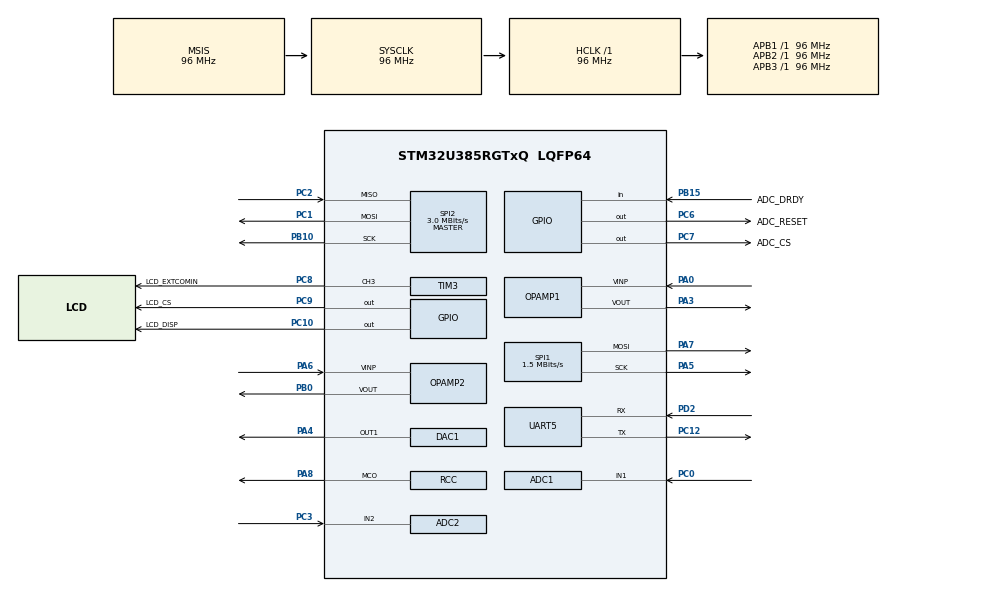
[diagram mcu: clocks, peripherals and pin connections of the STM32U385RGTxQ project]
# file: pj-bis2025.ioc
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ADC1.Channel-0\#ChannelRegularConversion=ADC_CHANNEL_1
ADC1.MonitoredBy-0\#ChannelRegularConversion=__NULL
ADC1.NbrOfConversionFlag=1
ADC1.OffsetNumber-0\#ChannelRegularConversion=ADC_OFFSET_NONE
ADC1.Rank-0\#ChannelRegularConversion=1
ADC1.SamplingTime-0\#ChannelRegularConversion=ADC_SAMPLETIME_1CYCLE_5
ADC1.master=1
ADC2.Channel-0\#ChannelRegularConversion=ADC_CHANNEL_2
ADC2.MonitoredBy-0\#ChannelRegularConversion=__NULL
ADC2.NbrOfConversionFlag=1
ADC2.OffsetNumber-0\#ChannelRegularConversion=ADC_OFFSET_NONE
ADC2.Rank-0\#ChannelRegularConversion=1
ADC2.SamplingTime-0\#ChannelRegularConversion=ADC_SAMPLETIME_1CYCLE_5
CORTEX_M33_NS.userName=CORTEX_M33
DAC1.DAC_Channel-DAC_OUT1=DAC_CHANNEL_1
DAC1.DAC_OutputBuffer_OUT1-DAC_OUT1=DAC_OUTPUTBUFFER_ENABLE
Mcu.Family=STM32U3
Mcu.Name=STM32U385RGTxQ
Mcu.Package=LQFP64
NUCLEO-U385RG-Q.BUTTON=1
NUCLEO-U385RG-Q.Bsp_Common_DEMO=true
NUCLEO-U385RG-Q.VCP=true
NVIC.EXTI13_IRQn=true\:0\:0\:false\:false\:true\:false\:true\:true
NVIC.PriorityGroup=NVIC_PRIORITYGROUP_4
OPAMP2.PowerMode=OPAMP_POWERMODE_NORMALPOWER_NORMALSPEED
PA0.Mode=Follower
PA0.Signal=OPAMP1_VINP
PA10.Signal=USART1_RX
PA13\ (JTMS/SWDIO).GPIO_Label=DEBUG_JTMS-SWDIO
PA13\ (JTMS/SWDIO).Signal=DEBUG_JTMS-SWDIO
PA14\ (JTCK/SWCLK).GPIO_Label=DEBUG_JTCK-SWCLK
PA14\ (JTCK/SWCLK).Signal=DEBUG_JTCK-SWCLK
PA15\ (JTDI).GPIO_Label=DEBUG_JTDI
PA15\ (JTDI).Signal=DEBUG_JTDI
PA3.Mode=Follower
PA3.Signal=OPAMP1_VOUT
PA4.Signal=COMP_DAC11_group
PA5.Mode=TX_Only_Simplex_Unidirect_Master
PA5.Signal=SPI1_SCK
PA6.Mode=Follower
PA6.Signal=OPAMP2_VINP
PA7.Mode=TX_Only_Simplex_Unidirect_Master
PA7.Signal=SPI1_MOSI
PA8.Mode=Clock-out-1
PA8.Signal=RCC_MCO
PA9.Signal=USART1_TX
PB0.Mode=Follower
PB0.Signal=OPAMP2_VOUT
PB10.Mode=Full_Duplex_Master
PB10.Signal=SPI2_SCK
PB15.GPIO_Label=ADC_DRDY
PB15.Signal=GPIO_Input
PB3\ (JTDO/TRACESWO).GPIO_Label=DEBUG_JTDO-SWO
PB3\ (JTDO/TRACESWO).Signal=DEBUG_JTDO-SWO
PC0.Mode=IN1-Single-Ended
PC0.Signal=ADC1_IN1
PC1.Mode=Full_Duplex_Master
PC1.Signal=SPI2_MOSI
PC10.GPIO_Label=LCD_DISP
PC10.Signal=GPIO_Output
PC12.Mode=Asynchronous
PC12.Signal=UART5_TX
PC13.Signal=PWR_WKUP2
PC14-OSC32_IN\ (PC14).GPIO_Label=RCC_OSC32_IN
PC14-OSC32_IN\ (PC14).Signal=RCC_OSC32_IN
PC15-OSC32_OUT\ (PC15).GPIO_Label=RCC_OSC32_OUT
PC15-OSC32_OUT\ (PC15).Signal=RCC_OSC32_OUT
PC2.Mode=Full_Duplex_Master
PC2.Signal=SPI2_MISO
PC3.Mode=IN2-Single-Ended
PC3.Signal=ADC2_IN2
PC6.GPIO_Label=ADC_RESET
PC6.Signal=GPIO_Output
PC7.GPIO_Label=ADC_CS
PC7.Signal=GPIO_Output
PC8.GPIO_Label=LCD_EXTCOMIN
PC8.Signal=S_TIM3_CH3
PC9.GPIO_Label=LCD_CS
PC9.Signal=GPIO_Output
PD2.Mode=Asynchronous
PD2.Signal=UART5_RX
ProjectManager.HeapSize=0x200
ProjectManager.StackSize=0x400
ProjectManager.TargetToolchain=STM32CubeIDE
RCC.ADCFreq_Value=96000000
RCC.AHBFreq_Value=96000000
RCC.APB1Freq_Value=96000000
RCC.APB1TimFreq_Value=96000000
RCC.APB2Freq_Value=96000000
RCC.APB2TimFreq_Value=96000000
RCC.APB3Freq_Value=96000000
RCC.CortexFreq_Value=12000000
RCC.HCLKFreq_Value=96000000
RCC.HSE_VALUE=16000000
RCC.HSI48_VALUE=48000000
RCC.HSI_VALUE=16000000
RCC.LSE_VALUE=32768
RCC.LSIDIV_VALUE=32000
RCC.MSISDIV=RCC_MSI_DIV1
RCC.RCC_MCODiv=RCC_MCODIV_64
RCC.SYSCLKFreq_VALUE=96000000
RCC.USBFreq_Value=48000000
RCC.USB_DIV=RCC_USB1CLKSOURCE_ICLK_DIV2
SH.COMP_DAC11_group.0=DAC1_OUT1,DAC_OUT1
SH.S_TIM3_CH3.0=TIM3_CH3,PWM Generation3 CH3
SPI1.BaudRatePrescaler=SPI_BAUDRATEPRESCALER_64
SPI1.CalculateBaudRate=1.5 MBits/s
SPI1.DataSize=SPI_DATASIZE_8BIT
SPI1.Direction=SPI_DIRECTION_2LINES_TXONLY
SPI1.Mode=SPI_MODE_MASTER
SPI1.VirtualType=VM_MASTER
SPI2.BaudRatePrescaler=SPI_BAUDRATEPRESCALER_32
SPI2.CLKPhase=SPI_PHASE_2EDGE
SPI2.CalculateBaudRate=3.0 MBits/s
SPI2.DataSize=SPI_DATASIZE_8BIT
SPI2.Direction=SPI_DIRECTION_2LINES
SPI2.Mode=SPI_MODE_MASTER
SPI2.VirtualType=VM_MASTER
TIM3.AutoReloadPreload=TIM_AUTORELOAD_PRELOAD_ENABLE
TIM3.Channel-PWM\ Generation3\ CH3=TIM_CHANNEL_3
TIM3.ClockDivision=TIM_CLOCKDIVISION_DIV2
TIM3.Dithering=Disable
TIM3.PeriodNoDither=9999
TIM3.Prescaler=191
TIM3.PulseNoDither_3=5000
VP_MEMORYMAP_VS_MEMORYMAP.Mode=CurAppReg
VP_NUCLEO-U385RG-Q_VS_BSP_COMMON.Mode=COMMON
VP_PWR_VS_DBSignals.Mode=DisableDeadBatterySignals
VP_PWR_VS_LPOM.Mode=PowerOptimisation
VP_PWR_VS_SECSignals.Mode=Security/Privilege
VP_TIM3_VS_ClockSourceINT.Mode=Internal
board=NUCLEO-U385RG-Q

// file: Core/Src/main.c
/* USER CODE BEGIN Header */
/**
  ******************************************************************************
  * @file           : main.c
  * @brief          : Main program body
  ******************************************************************************
  * @attention
  *
  * Copyright (c) 2025 STMicroelectronics.
  * All rights reserved.
  *
  * This software is licensed under terms that can be found in the LICENSE file
  * in the root directory of this software component.
  * If no LICENSE file comes with this software, it is provided AS-IS.
  *
  ******************************************************************************
  */
/* USER CODE END Header */
#include "main.h"

/* USER CODE BEGIN Includes */
#include <stdlib.h>
/* USER CODE END Includes */

/* USER CODE BEGIN PD */
// Display and timing constants
#define LCD_UPDATE_INTERVAL 10
#define ADS_CHECK_INTERVAL 50
#define UART_TRANSMISSION_INTERVAL_MS 1000  // UART transmission interval in milliseconds
#define MAX_SAMPLES_PER_INTERVAL 100  // Maximum samples to prevent overflow
#define VREF_MV 3300
#define ADC_MAX_VALUE 4095
/* USER CODE END PD */

COM_InitTypeDef BspCOMInit;
__IO uint32_t BspButtonState = BUTTON_RELEASED;
ADC_HandleTypeDef hadc1;
ADC_HandleTypeDef hadc2;

DAC_HandleTypeDef hdac1;

OPAMP_HandleTypeDef hopamp1;
OPAMP_HandleTypeDef hopamp2;

SPI_HandleTypeDef hspi1;
SPI_HandleTypeDef hspi2;

TIM_HandleTypeDef htim3;

UART_HandleTypeDef huart5;

/* USER CODE BEGIN PV */
  static uint16_t scroll_counter = 0;
  static uint32_t last_animation_time = 0;
  static uint16_t bounce_y = 50;
  static int8_t bounce_direction = 1;
  static uint8_t blink_state = 1;

  // UART buffer for ADS1299 debug output
  static char uart_buf[100];

  // Variables for UART timing and averaging
  static uint32_t last_uart_time = 0;  // Last UART transmission time
  static uint32_t adc_count_for_uart = 0;  // Sample count
  static float current_sum_for_uart = 0.0f;  // Current sum for averaging
  // Static buffer for UART output to reduce stack usage
  static char uart_output[50];

  // DAC and ADC test variables
  // DAC電圧値の配列 (50mV, 100mV, 150mV, 200mV, 250mV)
  // 計算式: DAC_value = (voltage_mV * 4095) / 3300
  // 正確な計算値:
  // 50mV:  (50 * 4095) / 3300 = 62.04 → 62
  // 100mV: (100 * 4095) / 3300 = 124.09 → 124
  // 150mV: (150 * 4095) / 3300 = 186.13 → 186
  // 200mV: (200 * 4095) / 3300 = 248.18 → 248
  // 250mV: (250 * 4095) / 3300 = 310.22 → 310
  const uint32_t dac_voltage_levels[] = {
      62,   // 50mV (実際: 50.0mV)
      124,  // 100mV (実際: 99.9mV)
      186,  // 150mV (実際: 150.0mV)
      248,  // 200mV (実際: 199.9mV)
      310   // 250mV (実際: 250.0mV)
  };
  const uint8_t num_voltage_levels = sizeof(dac_voltage_levels) / sizeof(dac_voltage_levels[0]);
  volatile uint8_t current_voltage_index = 0;  // 現在の電圧インデックス（割り込みで変更されるためvolatile）
  volatile uint32_t dac_value = 62;  // 初期値は50mV（割り込みで変更されるためvolatile）
  static uint32_t adc_value = 0;
  static volatile uint8_t button_was_pressed = 0;  // ボタン押下検出フラグ
  static uint32_t last_button_time = 0;  // デバウンス用のタイムスタンプ
  volatile uint8_t button_request_change = 0;  // 割り込みからのボタン変更要求フラグ
static uint16_t button_press_count = 0;  // ボタン押下回数カウンタ (uint16_tでオーバーフロー対策)
static uint8_t image_display_mode = 1;  // 画像表示モード（1: 表示中, 0: 通常モード）

  // ADS1299のSPIハンドル (MX_SPI2_Init()で初期化されるもの)
  extern SPI_HandleTypeDef hspi2;
  #define ADS_SPI_HANDLE &hspi2

  // GPIOピンの定義 (CubeMXの"Pinout & Configuration"で設定したUser Labelと一致させる)
  #define ADS_CS_PORT     ADC_CS_GPIO_Port
  #define ADS_CS_PIN      ADC_CS_Pin
  #define ADS_RESET_PORT  ADC_RESET_GPIO_Port
  #define ADS_RESET_PIN   ADC_RESET_Pin
  #define ADS_DRDY_PORT   ADC_DRDY_GPIO_Port
  #define ADS_DRDY_PIN    ADC_DRDY_Pin

  // UARTデバッグ用 (MX_UART5_Init()で初期化されるもの)
  extern UART_HandleTypeDef huart5;
  #define ADS_UART_HANDLE &huart5

  // ボタンデバウンス時間の定義
  #define BUTTON_DEBOUNCE_MS 200

  // コマンドとレジスタの定義
  // ADS1299のコマンド
  // System Commands
  #define CMD_WAKEUP    0x02
  #define CMD_STANDBY   0x04
  #define CMD_RESET     0x06
  #define CMD_START     0x08
  #define CMD_STOP      0x0A
  // Data Read Commands
  #define CMD_RDATAC    0x10
  #define CMD_SDATAC    0x11
  #define CMD_RDATA     0x12
  // Register Read Commands
  #define CMD_RREG      0x20
  #define CMD_WREG      0x40

  // ADS1299のレジスタアドレス
  // Read ONly ID Registers
  #define REG_ID        0x00
  // Global Settings Across Channels
  #define REG_CONFIG1   0x01
  #define REG_CONFIG2   0x02
  #define REG_CONFIG3   0x03
  #define REG_LOFF      0x04
  // Channel Settings
  #define REG_CH1SET    0x05
  #define REG_CH2SET    0x06
  #define REG_CH3SET    0x07
  #define REG_CH4SET    0x08
  #define REG_CH5SET    0x09
  #define REG_CH6SET    0x0A
  #define REG_CH7SET    0x0B
  #define REG_CH8SET    0x0C
  #define REG_BIAS_SENSP 0x0D
  #define REG_BIAS_SENSN 0x0E
  #define REG_LOFF_SENSP 0x0F
  #define REG_LOFF_SENSN 0x10
  #define REG_LOFF_FLIP 0x11
  // Lead-OFff Status Registers
  #define REG_LOFF_STATP 0x12
  #define REG_LOFF_STATN 0x13
  // GPIO and OTHER Registers
  #define REG_GPIO       0x14
  #define REG_MISC1      0x15
  #define REG_MISC2      0x16
  #define REG_CONFIG4    0x17

/* USER CODE END PV */

void SystemClock_Config(void);
static void MX_GPIO_Init(void);
static void MX_SPI1_Init(void);
static void MX_UART5_Init(void);
static void MX_TIM3_Init(void);
static void MX_SPI2_Init(void);
static void MX_DAC1_Init(void);
static void MX_OPAMP1_Init(void);
static void MX_ADC1_Init(void);
static void MX_OPAMP2_Init(void);
static void MX_ADC2_Init(void);
/* USER CODE BEGIN PFP */

static void ads_send_command(uint8_t cmd);
static void ads_write_reg(uint8_t addr, uint8_t data);
static uint8_t ads_read_reg(uint8_t addr);
static void ads_init(void);
static int32_t ads_read_ch1_data(void);

/* USER CODE END PFP */

int main(void)
{

  /* MCU Configuration--------------------------------------------------------*/

  /* Reset of all peripherals, Initializes the Flash interface and the Systick. */
  HAL_Init();

  /* Configure the system clock */
  SystemClock_Config();

  /* Initialize all configured peripherals */
  MX_GPIO_Init();
  MX_SPI1_Init();
  MX_UART5_Init();
  MX_TIM3_Init();
  MX_SPI2_Init();
  MX_DAC1_Init();
  MX_OPAMP1_Init();
  MX_ADC1_Init();
  MX_OPAMP2_Init();
  MX_ADC2_Init();
  /* USER CODE BEGIN 2 */

  printf("Starting DAC/ADC/LCD Test System...\r\n");

  // LCD初期化
  LCD_Init();
  printf("LCD Initialized\r\n");

  // 画像を表示（ボタンが押されるまで継続）
  LCD_DrawImage();
  printf("Displaying image. Press button to continue...\r\n");

  // Start DAC
  if (HAL_DAC_Start(&hdac1, DAC_CHANNEL_1) != HAL_OK) {
      printf("DAC Start Error!\r\n");
      LCD_DrawString4bit(50, "DAC Error");
      Error_Handler();
  }
  printf("DAC Channel 1 Started\r\n");

  // Start OPAMP
  if (HAL_OPAMP_Start(&hopamp1) != HAL_OK) {
      printf("OPAMP Start Error!\r\n");
      LCD_DrawString4bit(70, "OPAMP Error");
      Error_Handler();
  }
  printf("OPAMP Started\r\n");

  // Start OPAMP2
  if (HAL_OPAMP_Start(&hopamp2) != HAL_OK) {
      printf("OPAMP2 Start Error!\r\n");
      LCD_DrawString4bit(90, "OPAMP2 Error");
      Error_Handler();
  }
  printf("OPAMP2 Started\r\n");

  // Calibrate ADC
  if (HAL_ADCEx_Calibration_Start(&hadc1, ADC_SINGLE_ENDED) != HAL_OK) {
      printf("ADC Calibration Error!\r\n");
      LCD_DrawString4bit(90, "ADC Error");
      Error_Handler();
  }
  printf("ADC Calibrated and Ready\r\n");
  // Set initial DAC value to match the first voltage level (50mV)
  dac_value = dac_voltage_levels[current_voltage_index];
  HAL_DAC_SetValue(&hdac1, DAC_CHANNEL_1, DAC_ALIGN_12B_R, dac_value);
  uint32_t initial_voltage_mv = (dac_value * VREF_MV) / ADC_MAX_VALUE;
  printf("Initial DAC value set to: %lu (%lumV)\r\n", dac_value, initial_voltage_mv);

  printf("Starting ID Register Read Test...\r\n");

  // 一度リセット
  HAL_GPIO_WritePin(ADS_RESET_PORT, ADS_RESET_PIN, GPIO_PIN_SET);
  HAL_Delay(10);
  HAL_GPIO_WritePin(ADS_RESET_PORT, ADS_RESET_PIN, GPIO_PIN_RESET);
  HAL_Delay(1);
  HAL_GPIO_WritePin(ADS_RESET_PORT, ADS_RESET_PIN, GPIO_PIN_SET);
  HAL_Delay(10);

  /* USER CODE END 2 */

  /* Initialize USER push-button, will be used to trigger an interrupt each time it's pressed.*/
  BSP_PB_Init(BUTTON_USER, BUTTON_MODE_EXTI);

  /* Initialize COM1 port (115200, 8 bits (7-bit data + 1 stop bit), no parity */
  BspCOMInit.BaudRate   = 115200;
  BspCOMInit.WordLength = COM_WORDLENGTH_8B;
  BspCOMInit.StopBits   = COM_STOPBITS_1;
  BspCOMInit.Parity     = COM_PARITY_NONE;
  BspCOMInit.HwFlowCtl  = COM_HWCONTROL_NONE;
  if (BSP_COM_Init(COM1, &BspCOMInit) != BSP_ERROR_NONE)
  {
    Error_Handler();
  }

  /* Infinite loop */
  /* USER CODE BEGIN WHILE */
  while (1)
  {
    // Check if button change was requested in interrupt
    if (button_request_change == 1) {
        uint32_t current_time = HAL_GetTick();

        // デバウンス処理: 最後のボタン押下からBUTTON_DEBOUNCE_MS以上経過していることを確認
        if ((current_time - last_button_time) > BUTTON_DEBOUNCE_MS) {
            // ボタン押下回数をアトミックにインクリメント（競合状態対策）
            __disable_irq();
            button_press_count++;
            __enable_irq();

            if (button_press_count == 1) {
                // 1回目のボタン押下: 画像表示モードを終了
                image_display_mode = 0;
                button_request_change = 0;  // フラグをクリア
                printf("First button press - exiting image display mode\r\n");

                // 通常の監視画面を初期化
                LCD_FillWhite();
                LCD_DrawString4bit(10, "DAC/ADC Test");
                LCD_DrawString4bit(30, "System Ready");
            } else {
                // 2回目以降のボタン押下: DAC電圧を変更
                __disable_irq();
                current_voltage_index = (current_voltage_index + 1) % num_voltage_levels;
                dac_value = dac_voltage_levels[current_voltage_index];
                button_request_change = 0;  // フラグをクリア
                __enable_irq();

                // Debug output with actual voltage calculation
                uint32_t actual_voltage_mv = (dac_value * VREF_MV) / ADC_MAX_VALUE;
                printf("Button pressed! (Count: %u) Switching to %lumV (index: %d, DAC: %lu)\r\n",
                       button_press_count, actual_voltage_mv, current_voltage_index, dac_value);

                button_was_pressed = 1;  // Set flag for LCD update
            }

            last_button_time = current_time;  // デバウンス用のタイムスタンプ更新
        } else {
            // デバウンス期間中の場合はフラグをクリア
            button_request_change = 0;
        }

        BspButtonState = BUTTON_RELEASED;  // Reset state
    }

    // 画像表示モード中は画像を表示し続ける
    if (image_display_mode == 1) {
        HAL_Delay(100);  // 待機
        continue;  // メインループの他の処理をスキップ
    }

    // Set new DAC value with stabilization delay
    HAL_DAC_SetValue(&hdac1, DAC_CHANNEL_1, DAC_ALIGN_12B_R, dac_value);
    HAL_Delay(2);  // DAC安定化のための短い遅延

    // Read ADC value from the DAC output (via OPAMP follower) - 複数回測定して平均化
    // DAC設定後の安定化待機
    HAL_Delay(5);  // DAC/OPAMP安定化のための追加遅延

    uint32_t adc_sum = 0;
    const uint8_t num_samples = 16; // 16回測定して平均（より安定した値を取得）
    uint32_t adc_readings[16];  // 個別の測定値を保存
    uint8_t valid_samples = 0;

    for (uint8_t i = 0; i < num_samples; i++) {
        if (HAL_ADC_Start(&hadc1) != HAL_OK) {
            printf("ADC Start Error!\r\n");
            continue;  // エラーでも続行
        }

        if (HAL_ADC_PollForConversion(&hadc1, 10) == HAL_OK) {  // タイムアウトを10msに設定
            uint32_t reading = HAL_ADC_GetValue(&hadc1);
            adc_readings[valid_samples] = reading;
            adc_sum += reading;
            valid_samples++;
        }
        HAL_ADC_Stop(&hadc1);
        HAL_Delay(2); // 測定間の遅延を少し増やす
    }

    // 有効なサンプルがある場合のみ平均値を計算
    if (valid_samples > 0) {
        adc_value = adc_sum / valid_samples;

        // 外れ値を除外した平均値を再計算（オプション）
        if (valid_samples >= 8) {
            // 中央値付近の値のみで再計算
            uint32_t sorted_sum = 0;
            uint8_t counted = 0;
            for (uint8_t i = 0; i < valid_samples; i++) {
                // 平均値から±10%以内の値のみを使用
                if (adc_readings[i] >= (adc_value * 9 / 10) &&
                    adc_readings[i] <= (adc_value * 11 / 10)) {
                    sorted_sum += adc_readings[i];
                    counted++;
                }
            }
            if (counted > 0) {
                adc_value = sorted_sum / counted;
            }
        }
    }

    // Calculate voltage values for display (mV単位で整数演算)
    uint32_t dac_voltage_mv = (dac_value * VREF_MV) / ADC_MAX_VALUE;
    uint32_t adc_voltage_mv = (adc_value * VREF_MV) / ADC_MAX_VALUE;

    // Calculate current from ADC voltage (μA単位)
    // I = (V_adc - V_dac) / (88kΩ) where V_adc and V_dac are in V, I is in A
    // Convert to μA: I_uA = (V_adc - V_dac) / 88000Ω * 1000000
    float adc_voltage_v = adc_voltage_mv / 1000.0f; // ADC voltage in V
    float dac_voltage_v = dac_voltage_mv / 1000.0f; // DAC voltage in V
    float current_ua = (adc_voltage_v - dac_voltage_v) / 88000.0f * 1000000.0f; // Calculate current in μA

    // Accumulate values for UART averaging (with overflow protection)
    if (adc_count_for_uart < MAX_SAMPLES_PER_INTERVAL) {
        current_sum_for_uart += current_ua;
        adc_count_for_uart++;
    }

    // Send UART message every 1 second
    uint32_t current_time = HAL_GetTick();
    // Handle tick overflow (wraps around after ~49 days)
    if ((current_time >= last_uart_time && (current_time - last_uart_time) >= UART_TRANSMISSION_INTERVAL_MS) ||
        (current_time < last_uart_time && (current_time + (0xFFFFFFFF - last_uart_time)) >= UART_TRANSMISSION_INTERVAL_MS)) {
        if (adc_count_for_uart > 0) {
            // Calculate average values
            float avg_current_ua = current_sum_for_uart / adc_count_for_uart;

            // Format and send UART message: voltage(V) , current(uA)
            float dac_voltage_v = dac_voltage_mv / 1000.0f;  // Convert mV to V
            snprintf(uart_output, sizeof(uart_output), "%.3f , %.1f\r\n", dac_voltage_v, avg_current_ua);
            printf(uart_output);

            // Debug: show sample count
            // printf("Debug: %lu samples averaged\r\n", adc_count_for_uart);
        } else {
            // If no samples, still send a message with current value
            float dac_voltage_v = dac_voltage_mv / 1000.0f;
            snprintf(uart_output, sizeof(uart_output), "%.3f , %.1f\r\n", dac_voltage_v, current_ua);
            printf(uart_output);
        }

        // Reset accumulation variables
        current_sum_for_uart = 0.0f;
        adc_count_for_uart = 0;
        last_uart_time = current_time;
    }

    // Update LCD display every 10 iterations to reduce flicker
    static uint32_t lcd_update_counter = 0;
    lcd_update_counter++;

    if (lcd_update_counter % LCD_UPDATE_INTERVAL == 0) { // LCDの更新頻度を下げる
        LCD_FillWhite();

        // Display title
        LCD_DrawString4bit(10, "Current Monitor");

        // Display DAC value and voltage (mV)
        char dac_str[32];
        snprintf(dac_str, sizeof(dac_str), "DAC: %lumV [%d/5]", dac_voltage_mv, current_voltage_index + 1);
        LCD_DrawString4bit(30, dac_str);

        // Display ADC voltage (mV)
        char adc_str[32];
        snprintf(adc_str, sizeof(adc_str), "ADC: %lu mV", adc_voltage_mv);
        LCD_DrawString4bit(50, adc_str);

        // Display calculated current (μA)
        char current_str[32];
        snprintf(current_str, sizeof(current_str), "Current: %.1f uA", current_ua);
        LCD_DrawString4bit(70, current_str);
    }

    // Keep existing ADS1299 functionality (reduced frequency)
    static uint32_t ads_counter = 0;
    ads_counter++;

    if (ads_counter % ADS_CHECK_INTERVAL == 0) { // Every 50th iteration (less frequent for better LCD performance)
        //uint8_t device_id = ads_read_reg(REG_ID);
        // printf("ADS1299 ID: 0x%02X\r\n", device_id);

        // Display ADS1299 info on LCD (moved to line 110 to avoid overlap)
        //char ads_str[22];
        // snprintf(ads_str, sizeof(ads_str), "ADS ID: 0x%02X", device_id);
        //LCD_DrawString4bit(110, ads_str);

        // Check DRDY pin and read data if available
        if (HAL_GPIO_ReadPin(ADS_DRDY_PORT, ADS_DRDY_PIN) == GPIO_PIN_RESET) {
            //int32_t ch1_val = ads_read_ch1_data();
            // printf("ADS CH1: %ld\r\n", ch1_val);

            // Display ADS1299 CH1 data on LCD
            //char ch1_str[22];
            // snprintf(ch1_str, sizeof(ch1_str), "CH1: %ld", ch1_val);
            //LCD_DrawString4bit(110, ch1_str);
        }
    }

    HAL_Delay(100); // 100ms delay for readable output

    /* USER CODE END WHILE */

  }
}

void SystemClock_Config(void)
{
  RCC_OscInitTypeDef RCC_OscInitStruct = {0};
  RCC_ClkInitTypeDef RCC_ClkInitStruct = {0};

  /** Enable Epod Booster
  */
  if (HAL_RCCEx_EpodBoosterClkConfig(RCC_EPODBOOSTER_SOURCE_MSIS, RCC_EPODBOOSTER_DIV1) != HAL_OK)
  {
    Error_Handler();
  }
  if (HAL_PWREx_EnableEpodBooster() != HAL_OK)
  {
    Error_Handler();
  }

  /** Configure the main internal regulator output voltage
  */
  if (HAL_PWREx_ControlVoltageScaling(PWR_REGULATOR_VOLTAGE_SCALE1) != HAL_OK)
  {
    Error_Handler();
  }

  /** Set Flash latency before increasing MSIS
  */
  __HAL_FLASH_SET_LATENCY(FLASH_LATENCY_2);

  /** Initializes the CPU, AHB and APB buses clocks
  */
  RCC_OscInitStruct.OscillatorType = RCC_OSCILLATORTYPE_LSI|RCC_OSCILLATORTYPE_MSIS;
  RCC_OscInitStruct.LSIState = RCC_LSI_ON;
  RCC_OscInitStruct.LSIDiv = RCC_LSI_DIV1;
  RCC_OscInitStruct.MSISState = RCC_MSI_ON;
  RCC_OscInitStruct.MSISSource = RCC_MSI_RC0;
  RCC_OscInitStruct.MSISDiv = RCC_MSI_DIV1;
  if (HAL_RCC_OscConfig(&RCC_OscInitStruct) != HAL_OK)
  {
    Error_Handler();
  }

  /** Initializes the CPU, AHB and APB buses clocks
  */
  RCC_ClkInitStruct.ClockType = RCC_CLOCKTYPE_HCLK|RCC_CLOCKTYPE_SYSCLK
                              |RCC_CLOCKTYPE_PCLK1|RCC_CLOCKTYPE_PCLK2
                              |RCC_CLOCKTYPE_PCLK3;
  RCC_ClkInitStruct.SYSCLKSource = RCC_SYSCLKSOURCE_MSIS;
  RCC_ClkInitStruct.AHBCLKDivider = RCC_SYSCLK_DIV1;
  RCC_ClkInitStruct.APB1CLKDivider = RCC_HCLK_DIV1;
  RCC_ClkInitStruct.APB2CLKDivider = RCC_HCLK_DIV1;
  RCC_ClkInitStruct.APB3CLKDivider = RCC_HCLK_DIV1;

  if (HAL_RCC_ClockConfig(&RCC_ClkInitStruct, FLASH_LATENCY_2) != HAL_OK)
  {
    Error_Handler();
  }

  /** MCO1 configuration
  */
  HAL_RCC_MCOConfig(RCC_MCO1, RCC_MCO1SOURCE_SYSCLK, RCC_MCODIV_64);
}

static void MX_ADC1_Init(void)
{

  ADC_ChannelConfTypeDef sConfig = {0};

  /** Common config
  */
  hadc1.Instance = ADC1;
  hadc1.Init.Resolution = ADC_RESOLUTION_12B;
  hadc1.Init.GainCompensation = 0;
  hadc1.Init.ScanConvMode = ADC_SCAN_DISABLE;
  hadc1.Init.EOCSelection = ADC_EOC_SINGLE_CONV;
  hadc1.Init.LowPowerAutoWait = DISABLE;
  hadc1.Init.ContinuousConvMode = DISABLE;
  hadc1.Init.NbrOfConversion = 1;
  hadc1.Init.DiscontinuousConvMode = DISABLE;
  hadc1.Init.ExternalTrigConv = ADC_SOFTWARE_START;
  hadc1.Init.ExternalTrigConvEdge = ADC_EXTERNALTRIGCONVEDGE_NONE;
  hadc1.Init.Overrun = ADC_OVR_DATA_PRESERVED;
  hadc1.Init.LeftBitShift = ADC_LEFTBITSHIFT_NONE;
  hadc1.Init.ConversionDataManagement = ADC_CONVERSIONDATA_DR;
  hadc1.Init.OversamplingMode = DISABLE;
  if (HAL_ADC_Init(&hadc1) != HAL_OK)
  {
    Error_Handler();
  }

  /** Configure Regular Channel
  */
  sConfig.Channel = ADC_CHANNEL_1;
  sConfig.Rank = ADC_REGULAR_RANK_1;
  sConfig.SamplingTime = ADC_SAMPLETIME_1CYCLE_5;
  sConfig.OffsetNumber = ADC_OFFSET_NONE;
  sConfig.Offset = 0;
  if (HAL_ADC_ConfigChannel(&hadc1, &sConfig) != HAL_OK)
  {
    Error_Handler();
  }

}

static void MX_ADC2_Init(void)
{

  ADC_ChannelConfTypeDef sConfig = {0};

  /** Common config
  */
  hadc2.Instance = ADC2;
  hadc2.Init.Resolution = ADC_RESOLUTION_12B;
  hadc2.Init.GainCompensation = 0;
  hadc2.Init.ScanConvMode = ADC_SCAN_DISABLE;
  hadc2.Init.EOCSelection = ADC_EOC_SINGLE_CONV;
  hadc2.Init.LowPowerAutoWait = DISABLE;
  hadc2.Init.ContinuousConvMode = DISABLE;
  hadc2.Init.NbrOfConversion = 1;
  hadc2.Init.DiscontinuousConvMode = DISABLE;
  hadc2.Init.ExternalTrigConv = ADC_SOFTWARE_START;
  hadc2.Init.ExternalTrigConvEdge = ADC_EXTERNALTRIGCONVEDGE_NONE;
  hadc2.Init.Overrun = ADC_OVR_DATA_PRESERVED;
  hadc2.Init.LeftBitShift = ADC_LEFTBITSHIFT_NONE;
  hadc2.Init.ConversionDataManagement = ADC_CONVERSIONDATA_DR;
  hadc2.Init.OversamplingMode = DISABLE;
  if (HAL_ADC_Init(&hadc2) != HAL_OK)
  {
    Error_Handler();
  }

  /** Configure Regular Channel
  */
  sConfig.Channel = ADC_CHANNEL_2;
  sConfig.Rank = ADC_REGULAR_RANK_1;
  sConfig.SamplingTime = ADC_SAMPLETIME_1CYCLE_5;
  sConfig.OffsetNumber = ADC_OFFSET_NONE;
  sConfig.Offset = 0;
  if (HAL_ADC_ConfigChannel(&hadc2, &sConfig) != HAL_OK)
  {
    Error_Handler();
  }

}

static void MX_DAC1_Init(void)
{

  DAC_ChannelConfTypeDef sConfig = {0};
  DAC_AutonomousModeConfTypeDef sAutonomousMode = {0};

  /** DAC Initialization
  */
  hdac1.Instance = DAC1;
  if (HAL_DAC_Init(&hdac1) != HAL_OK)
  {
    Error_Handler();
  }

  /** DAC channel OUT1 config
  */
  sConfig.DAC_HighFrequency = DAC_HIGH_FREQUENCY_INTERFACE_MODE_DISABLE;
  sConfig.DAC_DMADoubleDataMode = DISABLE;
  sConfig.DAC_SignedFormat = DISABLE;
  sConfig.DAC_SampleAndHold = DAC_SAMPLEANDHOLD_ENABLE;  // サンプル&ホールドを有効化して安定性向上
  sConfig.DAC_Trigger = DAC_TRIGGER_NONE;
  sConfig.DAC_OutputBuffer = DAC_OUTPUTBUFFER_ENABLE;
  sConfig.DAC_ConnectOnChipPeripheral = DAC_CHIPCONNECT_EXTERNAL;
  sConfig.DAC_UserTrimming = DAC_TRIMMING_FACTORY;
  sConfig.DAC_SampleAndHoldConfig.DAC_SampleTime = 10;  // サンプル時間を設定（10サイクル）
  sConfig.DAC_SampleAndHoldConfig.DAC_HoldTime = 10;    // ホールド時間を設定（10サイクル）
  sConfig.DAC_SampleAndHoldConfig.DAC_RefreshTime = 10; // リフレッシュ時間を設定（10サイクル）
  if (HAL_DAC_ConfigChannel(&hdac1, &sConfig, DAC_CHANNEL_1) != HAL_OK)
  {
    Error_Handler();
  }

  /** Configure Autonomous Mode
  */
  sAutonomousMode.AutonomousModeState = DAC_AUTONOMOUS_MODE_DISABLE;
  if (HAL_DACEx_SetConfigAutonomousMode(&hdac1, &sAutonomousMode) != HAL_OK)
  {
    Error_Handler();
  }

}

static void MX_OPAMP1_Init(void)
{

  hopamp1.Instance = OPAMP1;
  hopamp1.Init.Mode = OPAMP_FOLLOWER_MODE;
  hopamp1.Init.NonInvertingInput = OPAMP_NONINVERTINGINPUT_IO0;
  hopamp1.Init.PowerMode = OPAMP_POWERMODE_NORMALPOWER_NORMALSPEED;
  hopamp1.Init.UserTrimming = OPAMP_TRIMMING_FACTORY;
  if (HAL_OPAMP_Init(&hopamp1) != HAL_OK)
  {
    Error_Handler();
  }

}

static void MX_OPAMP2_Init(void)
{

  hopamp2.Instance = OPAMP2;
  hopamp2.Init.Mode = OPAMP_FOLLOWER_MODE;
  hopamp2.Init.NonInvertingInput = OPAMP_NONINVERTINGINPUT_IO0;
  hopamp2.Init.PowerMode = OPAMP_POWERMODE_NORMALPOWER_NORMALSPEED;
  hopamp2.Init.UserTrimming = OPAMP_TRIMMING_FACTORY;
  if (HAL_OPAMP_Init(&hopamp2) != HAL_OK)
  {
    Error_Handler();
  }

}

static void MX_SPI1_Init(void)
{

  SPI_AutonomousModeConfTypeDef HAL_SPI_AutonomousMode_Cfg_Struct = {0};

  /* SPI1 parameter configuration*/
  hspi1.Instance = SPI1;
  hspi1.Init.Mode = SPI_MODE_MASTER;
  hspi1.Init.Direction = SPI_DIRECTION_2LINES_TXONLY;
  hspi1.Init.DataSize = SPI_DATASIZE_8BIT;
  hspi1.Init.CLKPolarity = SPI_POLARITY_LOW;
  hspi1.Init.CLKPhase = SPI_PHASE_1EDGE;
  hspi1.Init.NSS = SPI_NSS_SOFT;
  hspi1.Init.BaudRatePrescaler = SPI_BAUDRATEPRESCALER_64;
  hspi1.Init.FirstBit = SPI_FIRSTBIT_MSB;
  hspi1.Init.TIMode = SPI_TIMODE_DISABLE;
  hspi1.Init.CRCCalculation = SPI_CRCCALCULATION_DISABLE;
  hspi1.Init.CRCPolynomial = 0x7;
  hspi1.Init.NSSPMode = SPI_NSS_PULSE_ENABLE;
  hspi1.Init.NSSPolarity = SPI_NSS_POLARITY_LOW;
  hspi1.Init.FifoThreshold = SPI_FIFO_THRESHOLD_01DATA;
  hspi1.Init.MasterSSIdleness = SPI_MASTER_SS_IDLENESS_00CYCLE;
  hspi1.Init.MasterInterDataIdleness = SPI_MASTER_INTERDATA_IDLENESS_00CYCLE;
  hspi1.Init.MasterReceiverAutoSusp = SPI_MASTER_RX_AUTOSUSP_DISABLE;
  hspi1.Init.MasterKeepIOState = SPI_MASTER_KEEP_IO_STATE_DISABLE;
  hspi1.Init.IOSwap = SPI_IO_SWAP_DISABLE;
  hspi1.Init.ReadyMasterManagement = SPI_RDY_MASTER_MANAGEMENT_INTERNALLY;
  hspi1.Init.ReadyPolarity = SPI_RDY_POLARITY_HIGH;
  if (HAL_SPI_Init(&hspi1) != HAL_OK)
  {
    Error_Handler();
  }
  HAL_SPI_AutonomousMode_Cfg_Struct.TriggerState = SPI_AUTO_MODE_DISABLE;
  HAL_SPI_AutonomousMode_Cfg_Struct.TriggerSelection = SPI_GRP1_GPDMA_CH0_TCF_TRG;
  HAL_SPI_AutonomousMode_Cfg_Struct.TriggerPolarity = SPI_TRIG_POLARITY_RISING;
  if (HAL_SPIEx_SetConfigAutonomousMode(&hspi1, &HAL_SPI_AutonomousMode_Cfg_Struct) != HAL_OK)
  {
    Error_Handler();
  }

}

static void MX_SPI2_Init(void)
{

  SPI_AutonomousModeConfTypeDef HAL_SPI_AutonomousMode_Cfg_Struct = {0};

  /* SPI2 parameter configuration*/
  hspi2.Instance = SPI2;
  hspi2.Init.Mode = SPI_MODE_MASTER;
  hspi2.Init.Direction = SPI_DIRECTION_2LINES;
  hspi2.Init.DataSize = SPI_DATASIZE_8BIT;
  hspi2.Init.CLKPolarity = SPI_POLARITY_LOW;
  hspi2.Init.CLKPhase = SPI_PHASE_2EDGE;
  hspi2.Init.NSS = SPI_NSS_SOFT;
  hspi2.Init.BaudRatePrescaler = SPI_BAUDRATEPRESCALER_32;
  hspi2.Init.FirstBit = SPI_FIRSTBIT_MSB;
  hspi2.Init.TIMode = SPI_TIMODE_DISABLE;
  hspi2.Init.CRCCalculation = SPI_CRCCALCULATION_DISABLE;
  hspi2.Init.CRCPolynomial = 0x7;
  hspi2.Init.NSSPMode = SPI_NSS_PULSE_DISABLE;
  hspi2.Init.NSSPolarity = SPI_NSS_POLARITY_LOW;
  hspi2.Init.FifoThreshold = SPI_FIFO_THRESHOLD_01DATA;
  hspi2.Init.MasterSSIdleness = SPI_MASTER_SS_IDLENESS_00CYCLE;
  hspi2.Init.MasterInterDataIdleness = SPI_MASTER_INTERDATA_IDLENESS_00CYCLE;
  hspi2.Init.MasterReceiverAutoSusp = SPI_MASTER_RX_AUTOSUSP_DISABLE;
  hspi2.Init.MasterKeepIOState = SPI_MASTER_KEEP_IO_STATE_DISABLE;
  hspi2.Init.IOSwap = SPI_IO_SWAP_DISABLE;
  hspi2.Init.ReadyMasterManagement = SPI_RDY_MASTER_MANAGEMENT_INTERNALLY;
  hspi2.Init.ReadyPolarity = SPI_RDY_POLARITY_HIGH;
  if (HAL_SPI_Init(&hspi2) != HAL_OK)
  {
    Error_Handler();
  }
  HAL_SPI_AutonomousMode_Cfg_Struct.TriggerState = SPI_AUTO_MODE_DISABLE;
  HAL_SPI_AutonomousMode_Cfg_Struct.TriggerSelection = SPI_GRP1_GPDMA_CH0_TCF_TRG;
  HAL_SPI_AutonomousMode_Cfg_Struct.TriggerPolarity = SPI_TRIG_POLARITY_RISING;
  if (HAL_SPIEx_SetConfigAutonomousMode(&hspi2, &HAL_SPI_AutonomousMode_Cfg_Struct) != HAL_OK)
  {
    Error_Handler();
  }

}

static void MX_TIM3_Init(void)
{

  TIM_ClockConfigTypeDef sClockSourceConfig = {0};
  TIM_MasterConfigTypeDef sMasterConfig = {0};
  TIM_OC_InitTypeDef sConfigOC = {0};

  htim3.Instance = TIM3;
  htim3.Init.Prescaler = 191;
  htim3.Init.CounterMode = TIM_COUNTERMODE_UP;
  htim3.Init.Period = 9999;
  htim3.Init.ClockDivision = TIM_CLOCKDIVISION_DIV2;
  htim3.Init.AutoReloadPreload = TIM_AUTORELOAD_PRELOAD_ENABLE;
  if (HAL_TIM_Base_Init(&htim3) != HAL_OK)
  {
    Error_Handler();
  }
  sClockSourceConfig.ClockSource = TIM_CLOCKSOURCE_INTERNAL;
  if (HAL_TIM_ConfigClockSource(&htim3, &sClockSourceConfig) != HAL_OK)
  {
    Error_Handler();
  }
  if (HAL_TIM_PWM_Init(&htim3) != HAL_OK)
  {
    Error_Handler();
  }
  sMasterConfig.MasterOutputTrigger = TIM_TRGO_RESET;
  sMasterConfig.MasterSlaveMode = TIM_MASTERSLAVEMODE_DISABLE;
  if (HAL_TIMEx_MasterConfigSynchronization(&htim3, &sMasterConfig) != HAL_OK)
  {
    Error_Handler();
  }
  sConfigOC.OCMode = TIM_OCMODE_PWM1;
  sConfigOC.Pulse = 5000;
  sConfigOC.OCPolarity = TIM_OCPOLARITY_HIGH;
  sConfigOC.OCFastMode = TIM_OCFAST_DISABLE;
  if (HAL_TIM_PWM_ConfigChannel(&htim3, &sConfigOC, TIM_CHANNEL_3) != HAL_OK)
  {
    Error_Handler();
  }
  HAL_TIM_MspPostInit(&htim3);

}

static void MX_UART5_Init(void)
{

  huart5.Instance = UART5;
  huart5.Init.BaudRate = 115200;
  huart5.Init.WordLength = UART_WORDLENGTH_8B;
  huart5.Init.StopBits = UART_STOPBITS_1;
  huart5.Init.Parity = UART_PARITY_NONE;
  huart5.Init.Mode = UART_MODE_TX_RX;
  huart5.Init.HwFlowCtl = UART_HWCONTROL_NONE;
  huart5.Init.OverSampling = UART_OVERSAMPLING_16;
  huart5.Init.OneBitSampling = UART_ONE_BIT_SAMPLE_DISABLE;
  huart5.Init.ClockPrescaler = UART_PRESCALER_DIV1;
  huart5.AdvancedInit.AdvFeatureInit = UART_ADVFEATURE_NO_INIT;
  if (HAL_UART_Init(&huart5) != HAL_OK)
  {
    Error_Handler();
  }
  if (HAL_UARTEx_SetTxFifoThreshold(&huart5, UART_TXFIFO_THRESHOLD_1_8) != HAL_OK)
  {
    Error_Handler();
  }
  if (HAL_UARTEx_SetRxFifoThreshold(&huart5, UART_RXFIFO_THRESHOLD_1_8) != HAL_OK)
  {
    Error_Handler();
  }
  if (HAL_UARTEx_DisableFifoMode(&huart5) != HAL_OK)
  {
    Error_Handler();
  }

}

static void MX_GPIO_Init(void)
{
  GPIO_InitTypeDef GPIO_InitStruct = {0};

  /* GPIO Ports Clock Enable */
  __HAL_RCC_GPIOC_CLK_ENABLE();
  __HAL_RCC_GPIOA_CLK_ENABLE();
  __HAL_RCC_GPIOB_CLK_ENABLE();
  __HAL_RCC_GPIOD_CLK_ENABLE();

  /*Configure GPIO pin Output Level */
  HAL_GPIO_WritePin(GPIOC, ADC_RESET_Pin|ADC_CS_Pin|LCD_CS_Pin|LCD_DISP_Pin, GPIO_PIN_RESET);

  /*Configure GPIO pin : ADC_DRDY_Pin */
  GPIO_InitStruct.Pin = ADC_DRDY_Pin;
  GPIO_InitStruct.Mode = GPIO_MODE_INPUT;
  GPIO_InitStruct.Pull = GPIO_NOPULL;
  HAL_GPIO_Init(ADC_DRDY_GPIO_Port, &GPIO_InitStruct);

  /*Configure GPIO pins : ADC_RESET_Pin ADC_CS_Pin LCD_CS_Pin LCD_DISP_Pin */
  GPIO_InitStruct.Pin = ADC_RESET_Pin|ADC_CS_Pin|LCD_CS_Pin|LCD_DISP_Pin;
  GPIO_InitStruct.Mode = GPIO_MODE_OUTPUT_PP;
  GPIO_InitStruct.Pull = GPIO_NOPULL;
  GPIO_InitStruct.Speed = GPIO_SPEED_FREQ_LOW;
  HAL_GPIO_Init(GPIOC, &GPIO_InitStruct);

  /*Configure GPIO pin : PA8 */
  GPIO_InitStruct.Pin = GPIO_PIN_8;
  GPIO_InitStruct.Mode = GPIO_MODE_AF_PP;
  GPIO_InitStruct.Pull = GPIO_NOPULL;
  GPIO_InitStruct.Speed = GPIO_SPEED_FREQ_HIGH;
  GPIO_InitStruct.Alternate = GPIO_AF0_MCO;
  HAL_GPIO_Init(GPIOA, &GPIO_InitStruct);

}

/* USER CODE BEGIN 4 */

/**
  * @brief  ADS1299に単一コマンドを送信する
  * @param  cmd 送信するコマンド
  * @retval None
  */
static void ads_send_command(uint8_t cmd) {
    HAL_GPIO_WritePin(ADS_CS_PORT, ADS_CS_PIN, GPIO_PIN_RESET);
    HAL_Delay(1); // 最小限の遅延
    HAL_SPI_Transmit(ADS_SPI_HANDLE, &cmd, 1, HAL_MAX_DELAY);
    HAL_Delay(1);
    HAL_GPIO_WritePin(ADS_CS_PORT, ADS_CS_PIN, GPIO_PIN_SET);
}

/**
  * @brief  ADS1299のレジスタに1バイト書き込む
  * @param  addr レジスタアドレス
  * @param  data 書き込むデータ
  * @retval None
  */
static void ads_write_reg(uint8_t addr, uint8_t data) {
    uint8_t tx_buf[3];
    tx_buf[0] = CMD_WREG | addr; // WREGコマンド + アドレス
    tx_buf[1] = 0x00;            // 書き込むレジスタ数 - 1 (今回は1つなので0)
    tx_buf[2] = data;            // 書き込むデータ

    HAL_GPIO_WritePin(ADS_CS_PORT, ADS_CS_PIN, GPIO_PIN_RESET);
    HAL_Delay(1);
    HAL_SPI_Transmit(ADS_SPI_HANDLE, tx_buf, 3, HAL_MAX_DELAY);
    HAL_Delay(1);
    HAL_GPIO_WritePin(ADS_CS_PORT, ADS_CS_PIN, GPIO_PIN_SET);
}

/**
  * @brief  ADS1299のレジスタから1バイト読み出す
  * @param  addr レジスタアドレス
  * @retval 読み出したデータ
  */
static uint8_t ads_read_reg(uint8_t addr) {
    uint8_t tx_buf[3];
    uint8_t rx_buf[3] = {0};

    tx_buf[0] = CMD_RREG | addr; // RREGコマンド + アドレス
    tx_buf[1] = 0x00;            // 読み出すレジスタ数 - 1 (今回は1つなので0)
    tx_buf[2] = 0x00;            // ダミーバイト

    HAL_GPIO_WritePin(ADS_CS_PORT, ADS_CS_PIN, GPIO_PIN_RESET);
    HAL_Delay(1);
    HAL_SPI_TransmitReceive(ADS_SPI_HANDLE, tx_buf, rx_buf, 3, HAL_MAX_DELAY);
    HAL_Delay(1);
    HAL_GPIO_WritePin(ADS_CS_PORT, ADS_CS_PIN, GPIO_PIN_SET);

    return rx_buf[2]; // 3バイト目にレジスタの値が入っている
}

/**
  * @brief  ADS1299を初期化する
  * @retval None
  */
static void ads_init(void) {
    // 1. デバイスをリセット
    HAL_GPIO_WritePin(ADS_RESET_PORT, ADS_RESET_PIN, GPIO_PIN_SET);
    HAL_Delay(100);
    HAL_GPIO_WritePin(ADS_RESET_PORT, ADS_RESET_PIN, GPIO_PIN_RESET);
    HAL_Delay(1);
    HAL_GPIO_WritePin(ADS_RESET_PORT, ADS_RESET_PIN, GPIO_PIN_SET);
    HAL_Delay(100); // リセット後の安定化待ち [cite: 1713]

    // 2. RDATACモードを停止
    ads_send_command(CMD_SDATAC);
    HAL_Delay(1);

    // 3. レジスタ設定
    // CONFIG3: 内部リファレンスを有効化
    ads_write_reg(REG_CONFIG3, 0xE0); // PD_REFBUF=1 [cite: 2375]
    HAL_Delay(1);

    // CH1SET: CH1を有効化、ゲイン24倍、通常入力に設定
    ads_write_reg(REG_CH1SET, 0x60); // PD1=0, GAIN=24, MUX=Normal [cite: 2460]
    HAL_Delay(1);

    // CH2-CH8をパワーダウン
    for (int i = 0; i < 7; i++) {
        ads_write_reg(REG_CH2SET + i, 0x81); // PDn=1, MUXn=Input Short [cite: 2460]
        HAL_Delay(1);
    }

    // 4. 変換開始
    ads_send_command(CMD_START); // [cite: 1961]
}

/**
  * @brief  ADS1299のCH1データを読み出す
  * @retval 32ビット符号付き整数に変換されたCH1のデータ
  */
static int32_t ads_read_ch1_data(void) {
    uint8_t tx_cmd = CMD_RDATA;
    uint8_t rx_buffer[27] = {0};
    int32_t ch1_val = 0;

    HAL_GPIO_WritePin(ADS_CS_PORT, ADS_CS_PIN, GPIO_PIN_RESET);
    HAL_Delay(1);

    // RDATAコマンドを送信し、同時にデータフレーム全体(27バイト)を受信する
    HAL_SPI_TransmitReceive(ADS_SPI_HANDLE, &tx_cmd, rx_buffer, 1, HAL_MAX_DELAY);
    HAL_SPI_Receive(ADS_SPI_HANDLE, &rx_buffer[1], 26, HAL_MAX_DELAY);

    HAL_GPIO_WritePin(ADS_CS_PORT, ADS_CS_PIN, GPIO_PIN_SET);

    // 受信バッファからCH1のデータ(4,5,6バイト目)を取得
    // [cite: 1756, 1895, 1896]
    ch1_val = (int32_t)((rx_buffer[3] << 16) | (rx_buffer[4] << 8) | rx_buffer[5]);

    // 24ビットの2の補数表現を32ビットに符号拡張する
    if (ch1_val & 0x00800000) {
        ch1_val |= 0xFF000000;
    }

    return ch1_val;
}

/* USER CODE END 4 */

/**
  * @brief BSP Push Button callback
  * @param Button Specifies the pressed button
  * @retval None
  */
void BSP_PB_Callback(Button_TypeDef Button)
{
  if (Button == BUTTON_USER)
  {
    // 割り込みハンドラでは電圧変更要求フラグをセットするのみ
    extern volatile uint8_t button_request_change;

    // メインループでの処理を要求
    button_request_change = 1;
    BspButtonState = BUTTON_PRESSED;
  }
}

void Error_Handler(void)
{
  __disable_irq();
  while (1)
  {
  }
}
